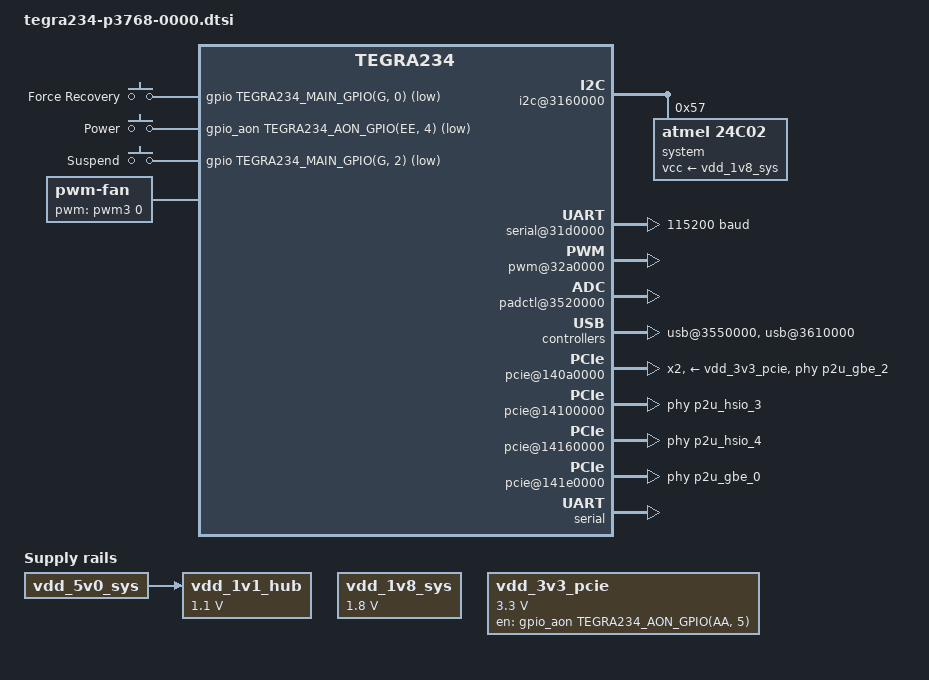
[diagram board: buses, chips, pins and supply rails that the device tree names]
// SPDX-License-Identifier: GPL-2.0

/ {
	compatible = "nvidia,p3768-0000";

	aliases {
		serial0 = &tcu;
	};

	chosen {
		stdout-path = "serial0:115200n8";
	};

	bus@0 {
		i2c@3160000 {
			status = "okay";

			eeprom@57 {
				compatible = "atmel,24c02";
				reg = <0x57>;

				label = "system";
				vcc-supply = <&vdd_1v8_sys>;
				address-width = <8>;
				pagesize = <8>;
				size = <256>;
				read-only;
			};
		};

		serial@31d0000 {
			current-speed = <115200>;
			status = "okay";
		};

		pwm@32a0000 {
			assigned-clocks = <&bpmp TEGRA234_CLK_PWM3>;
			assigned-clock-parents = <&bpmp TEGRA234_CLK_PLLP_OUT0>;
			status = "okay";
		};

		padctl@3520000 {
			status = "okay";

			pads {
				usb2 {
					lanes {
						usb2-0 {
							nvidia,function = "xusb";
							status = "okay";
						};

						usb2-1 {
							nvidia,function = "xusb";
							status = "okay";
						};

						usb2-2 {
							nvidia,function = "xusb";
							status = "okay";
						};
					};
				};

				usb3 {
					lanes {
						usb3-0 {
							nvidia,function = "xusb";
							status = "okay";
						};

						usb3-1 {
							nvidia,function = "xusb";
							status = "okay";
						};
					};
				};
			};

			ports {
				/* recovery port */
				usb2-0 {
					mode = "otg";
					vbus-supply = <&vdd_5v0_sys>;
					status = "okay";
					usb-role-switch;
				};

				/* hub */
				usb2-1 {
					mode = "host";
					vbus-supply = <&vdd_1v1_hub>;
					status = "okay";
				};

				/* M.2 Key-E */
				usb2-2 {
					mode = "host";
					vbus-supply = <&vdd_5v0_sys>;
					status = "okay";
				};

				/* hub */
				usb3-0 {
					nvidia,usb2-companion = <1>;
					status = "okay";
				};

				/* J5 */
				usb3-1 {
					nvidia,usb2-companion = <0>;
					status = "okay";
				};
			};
		};

		usb@3550000 {
			status = "okay";

			phys = <&{/bus@0/padctl@3520000/pads/usb2/lanes/usb2-0}>,
			       <&{/bus@0/padctl@3520000/pads/usb3/lanes/usb3-1}>;
			phy-names = "usb2-0", "usb3-0";
		};

		usb@3610000 {
			status = "okay";

			phys = <&{/bus@0/padctl@3520000/pads/usb2/lanes/usb2-0}>,
			       <&{/bus@0/padctl@3520000/pads/usb2/lanes/usb2-1}>,
			       <&{/bus@0/padctl@3520000/pads/usb2/lanes/usb2-2}>,
			       <&{/bus@0/padctl@3520000/pads/usb3/lanes/usb3-0}>,
			       <&{/bus@0/padctl@3520000/pads/usb3/lanes/usb3-1}>;
			phy-names = "usb2-0", "usb2-1", "usb2-2", "usb3-0",
				    "usb3-1";
		};

		/* C8 - Ethernet */
		pcie@140a0000 {
			status = "okay";

			num-lanes = <2>;

			phys = <&p2u_gbe_2>, <&p2u_gbe_3>;
			phy-names = "p2u-0", "p2u-1";

			vddio-pex-ctl-supply = <&vdd_1v8_ao>;
			vpcie3v3-supply = <&vdd_3v3_pcie>;
		};

		/* C1 - M.2 Key-E */
		pcie@14100000 {
			status = "okay";

			vddio-pex-ctl-supply = <&vdd_1v8_ao>;

			phys = <&p2u_hsio_3>;
			phy-names = "p2u-0";
		};

		/* C4 - M.2 Key-M */
		pcie@14160000 {
			status = "okay";

			vddio-pex-ctl-supply = <&vdd_1v8_ao>;

			phys = <&p2u_hsio_4>, <&p2u_hsio_5>, <&p2u_hsio_6>,
			       <&p2u_hsio_7>;
			phy-names = "p2u-0", "p2u-1", "p2u-2", "p2u-3";
		};

		/* C7 - M.2 Key-M */
		pcie@141e0000 {
			status = "okay";

			vddio-pex-ctl-supply = <&vdd_1v8_ao>;

			phys = <&p2u_gbe_0>, <&p2u_gbe_1>;
			phy-names = "p2u-0", "p2u-1";
		};
	};

	gpio-keys {
		compatible = "gpio-keys";

		key-force-recovery {
			label = "Force Recovery";
			gpios = <&gpio TEGRA234_MAIN_GPIO(G, 0) GPIO_ACTIVE_LOW>;
			linux,input-type = <EV_KEY>;
			linux,code = <BTN_1>;
		};

		key-power {
			label = "Power";
			gpios = <&gpio_aon TEGRA234_AON_GPIO(EE, 4) GPIO_ACTIVE_LOW>;
			linux,input-type = <EV_KEY>;
			linux,code = <KEY_POWER>;
			wakeup-event-action = <EV_ACT_ASSERTED>;
			wakeup-source;
		};

		key-suspend {
			label = "Suspend";
			gpios = <&gpio TEGRA234_MAIN_GPIO(G, 2) GPIO_ACTIVE_LOW>;
			linux,input-type = <EV_KEY>;
			linux,code = <KEY_SLEEP>;
		};
	};

	fan: pwm-fan {
		compatible = "pwm-fan";
		pwms = <&pwm3 0 45334>;
		#cooling-cells = <2>;
	};

	vdd_1v8_sys: regulator-vdd-1v8-sys {
		compatible = "regulator-fixed";
		regulator-name = "VDD_1V8_SYS";
		regulator-min-microvolt = <1800000>;
		regulator-max-microvolt = <1800000>;
		regulator-always-on;
	};

	vdd_1v1_hub: regulator-vdd-1v1-hub {
		compatible = "regulator-fixed";
		regulator-name = "VDD_AV10_HUB";
		regulator-min-microvolt = <1100000>;
		regulator-max-microvolt = <1100000>;
		vin-supply = <&vdd_5v0_sys>;
		regulator-always-on;
	};

	vdd_3v3_pcie: regulator-vdd-3v3-pcie {
		compatible = "regulator-fixed";
		regulator-name = "VDD_3V3_PCIE";
		regulator-min-microvolt = <3300000>;
		regulator-max-microvolt = <3300000>;
		gpio = <&gpio_aon TEGRA234_AON_GPIO(AA, 5) GPIO_ACTIVE_HIGH>;
		enable-active-high;
	};

	serial {
		status = "okay";
	};
};
